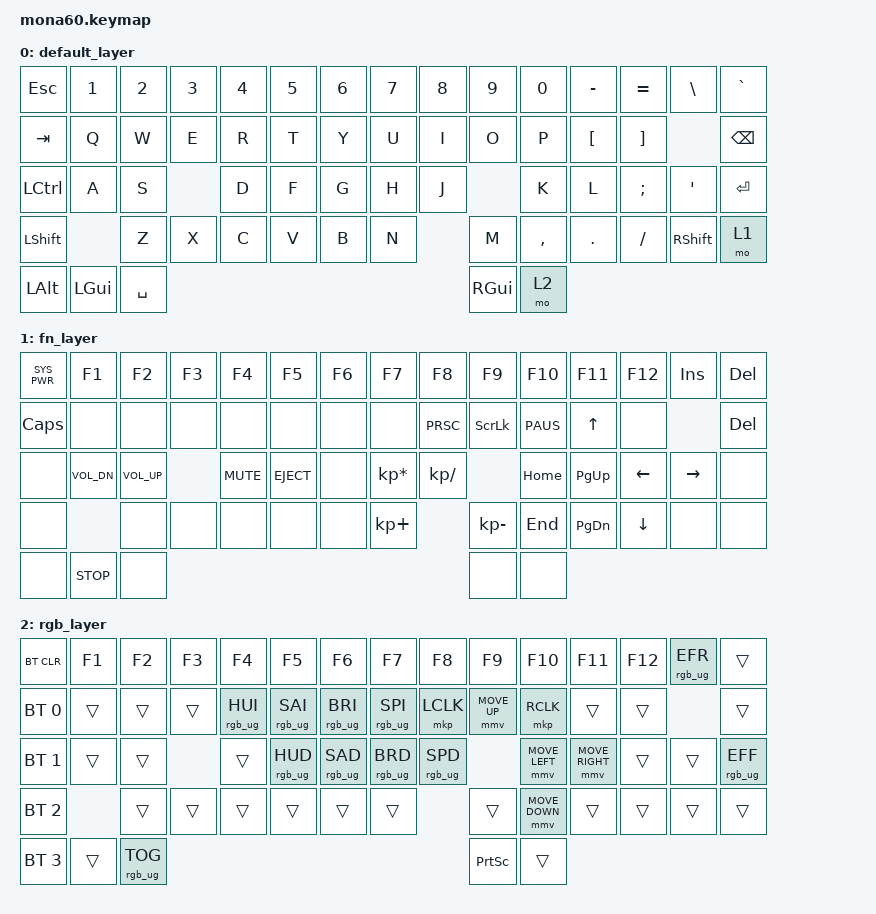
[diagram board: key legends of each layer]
/*
 * Copyright (c) 2020 The ZMK Contributors
 *
 * SPDX-License-Identifier: MIT
 */

#include <behaviors.dtsi>
#include <dt-bindings/zmk/keys.h>
#include <dt-bindings/zmk/bt.h>
#include <dt-bindings/zmk/rgb.h>
#include <dt-bindings/zmk/pointing.h>

/ {
    keymap0: keymap {
        compatible = "zmk,keymap";

        default_layer {
// ------------------------------------------------------------------------------------------
// | ESC |  1  |  2  |  3  |  4  |  5  |  6  |  7  |  8  |  9  |  0  |  -  |  =  |  \  |  `  |
// | TAB  |  Q  |  W  |  E  |  R  |  T  |  Y  |  U  |  I  |  O  |  P  |  [  |  ]  |    BSPC  |
// | CTL   |  A  |  S  |  D  |  F  |  G  |  H  |  J  |  K  |  L  |  ;  |  '  |     ENTER     |
// |  SHIFT  |  Z  |  X  |  C  |  V  |  B  |  N  |  M  |  ,  |  .  |  /  |      SHIFT  | Fn0 |
// |       |  ALT  |  WIN  |            SPACE               | WIN | MO(1) |                  |
// ------------------------------------------------------------------------------------------
            bindings = <
    &kp ESC &kp N1 &kp N2 &kp N3 &kp N4 &kp N5 &kp N6 &kp N7 &kp   N8  &kp  N9 &kp  N0  &kp MINUS &kp EQUAL &kp BSLH &kp GRAVE
    &kp TAB  &kp Q  &kp W  &kp E  &kp R  &kp T  &kp Y  &kp U  &kp   I   &kp  O  &kp   P  &kp LBKT &kp RBKT  &kp BSPC
    &kp LCTRL  &kp A  &kp S  &kp D  &kp F  &kp G  &kp H  &kp J  &kp   K   &kp  L  &kp SEMI &kp SQT           &kp RET
    &kp LSHFT  &kp Z  &kp X  &kp C  &kp V  &kp B  &kp N  &kp M  &kp COMMA &kp DOT &kp FSLH         &kp RSHFT    &mo  1
    &kp LALT &kp LGUI               &kp SPACE                 &kp  RGUI  &mo  2
            >;
        };

        fn_layer {
            bindings = <
&kp SYS_PWR  &kp F1     &kp F2     &kp F3     &kp F4     &kp F5     &kp F6     &kp F7     &kp F8     &kp F9     &kp F10    &kp F11    &kp F12   &kp INS   &kp DEL
&kp CAPSLOCK &none      &none      &none      &none      &none      &none      &none      &kp PRSC   &kp SLCK   &kp PAUS   &kp UP     &none               &kp DEL
&none           &kp K_VOL_DN &kp K_VOL_UP &kp K_MUTE   &kp K_EJECT &none &kp KP_MULTIPLY   &kp KP_DIVIDE   &kp HOME   &kp PG_UP   &kp LEFT      &kp RIGHT      &none
&none              &none       &none       &none         &none      &none      &kp KP_PLUS      &kp KP_MINUS  &kp END  &kp PG_DN  &kp DOWN   &none          &none
&none       &kp K_STOP       &none                                                                     &none     &none
            >;
        };

        rgb_layer {
// ------------------------------------------------------------------------------------------------
// | BT CLR | F1  | F2  | F3  | F4  | F5  | F6  | F7  | F8  | F9  | F10  | F11 | F12 | EFFECT REV |
// |  BT 1   |   |     |   | HUEUP | SATUP | BRIUP | SPDUP |MB1| m up|MB2 |     |     |           |
// |   BT 2   |    |      |    | HUEDN | SATDN | BRIDN | SPDDN |m L| m R |   |     |  EFFECT FORW |
// |    BT 3     |     |      |      |     |     |       |       | m  D|     |     |              |
// |   BT 4  |      |      |             TOG RGB                | PRT SCR |       |       |  DEL  |
// ------------------------------------------------------------------------------------------------
            bindings = <
    &bt BT_CLR   &kp F1    &kp F2    &kp F3  &kp F4           &kp F5          &kp F6          &kp F7          &kp F8   &kp F9   &kp F10  &kp F11 &kp F12  &rgb_ug RGB_EFR   &trans
    &bt BT_SEL 0  &trans    &trans    &trans  &rgb_ug RGB_HUI  &rgb_ug RGB_SAI &rgb_ug RGB_BRI &rgb_ug RGB_SPI  &mkp LCLK   &mmv MOVE_UP   &mkp RCLK   &trans  &trans          &trans
    &bt BT_SEL 1   &trans  &trans  &trans &rgb_ug RGB_HUD &rgb_ug RGB_SAD &rgb_ug RGB_BRD &rgb_ug RGB_SPD &mmv MOVE_LEFT   &mmv MOVE_RIGHT   &trans   &trans        &rgb_ug RGB_EFF
    &bt BT_SEL 2    &trans    &trans    &trans   &trans          &trans          &trans          &trans          &mmv MOVE_DOWN   &trans   &trans                          &trans   &trans
    &bt BT_SEL 3  &trans                            &rgb_ug RGB_TOG                                      &kp PSCRN      &trans
            >;
        };
         
    };
};
